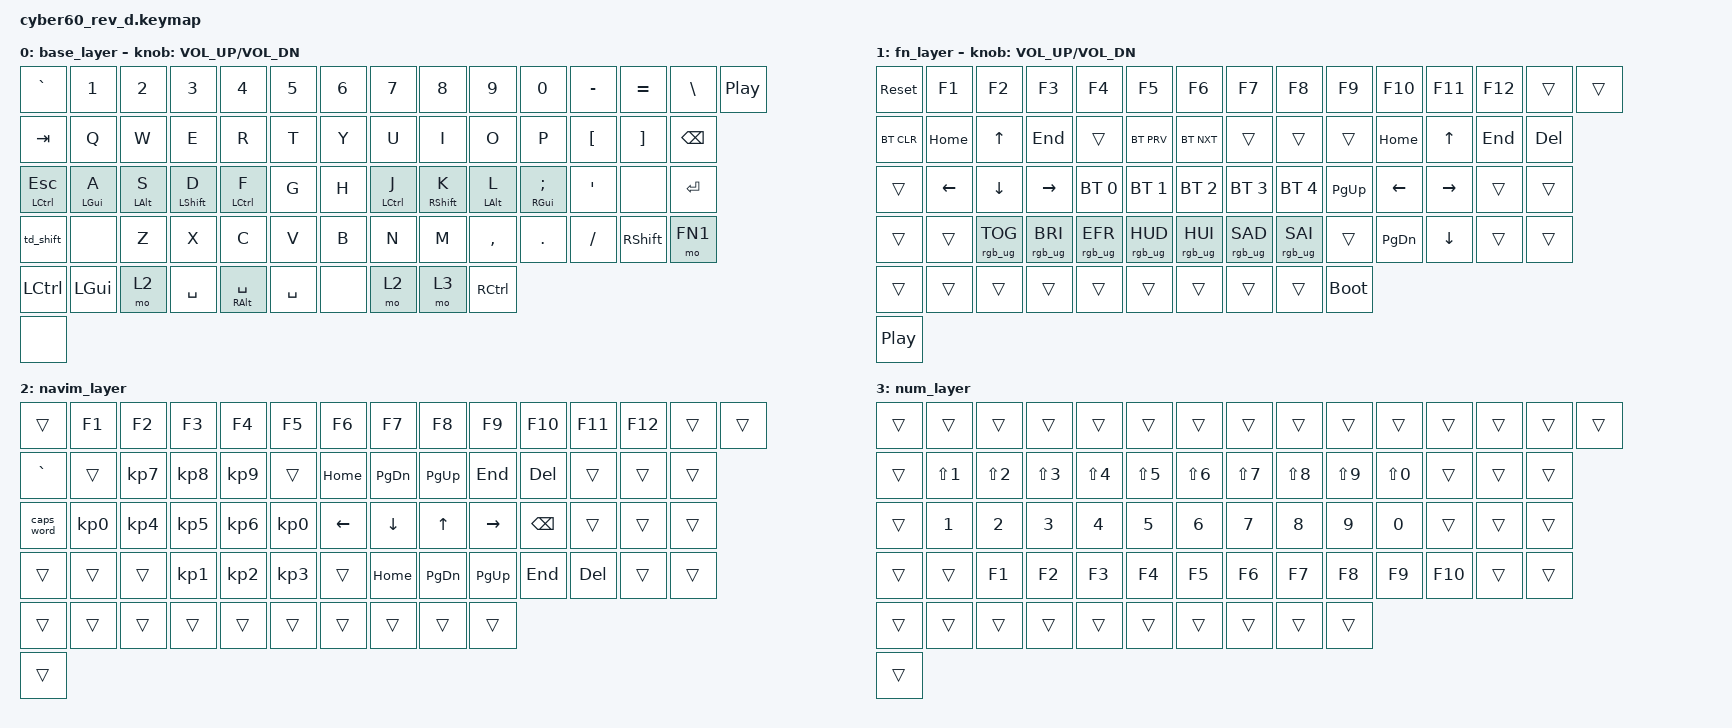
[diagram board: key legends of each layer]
#include <behaviors.dtsi>
#include <dt-bindings/zmk/bt.h>
#include <dt-bindings/zmk/keys.h>
#include <dt-bindings/zmk/rgb.h>

#define FN1 1

&lt {
    tapping-term-ms = <200>;
    quick-tap-ms = <200>;
    require-prior-idle-ms = <125>;
    flavor = "tap-preferred";
};

/ {
    behaviors {
        hm: homerow_mods {
            compatible = "zmk,behavior-hold-tap";
            #binding-cells = <2>;
            tapping-term-ms = <200>;
            quick-tap-ms = <200>;
            require-prior-idle-ms = <125>;
            flavor = "tap-preferred";
            bindings = <&kp>, <&kp>;
        };

        td_shift: tap_dance_0 {
            compatible = "zmk,behavior-tap-dance";
            #binding-cells = <0>;
            tapping-term-ms = <200>;
            bindings = <&kp LSHIFT>, <&caps_word>;
        };
    };

    keymap {
        compatible = "zmk,keymap";

        base_layer {
            // Base layer
            // ------------------------------------------------------------------------------------------
            // | ESC |  1  |  2  |  3  |  4  |  5  |  6  |  7  |  8  |  9  |  0  |  -  |  =  |   BKSP   |
            // |  TAB |  Q  |  W  |  E  |  R  |  T  |  Y  |  U  |  I  |  O  |  P  |  [  |  ]  |   "|"   |
            // | CAPS  |  A  |  S  |  D  |  F  |  G  |  H  |  J  |  K  |  L  |  ;  |  '  |NUHS| ENTER   |
            // | SHIFT |NUBS| Z |  X  |  C  |  V  |  B  |  N  |  M  |  ,  |  .  |  /  |    Shift   | FN |
            // |  LCTL  |  LWIN  |  LALT  | SPACE  | SPACE |    SPACE   |  RALT | FN  |   RWIN  | RCTRL |
            // | Rotary | (<-- Rotary switch) ----------------------------------------------------------- 

            bindings = <
&kp GRAVE         &kp N1          &kp N2          &kp N3            &kp N4          &kp N5     &kp N6  &kp N7       &kp N8             &kp N9          &kp N0              &kp MINUS  &kp EQUAL  &kp BACKSLASH  &kp C_PLAY_PAUSE
&kp TAB           &kp Q           &kp W           &kp E             &kp R           &kp T      &kp Y   &kp U        &kp I              &kp O           &kp P               &kp LBKT   &kp RBKT   &kp BACKSPACE
&mt LCTRL ESCAPE  &hm LEFT_GUI A  &hm LEFT_ALT S  &hm LEFT_SHIFT D  &hm LCTRL F     &kp G      &kp H   &hm LCTRL J  &hm RIGHT_SHIFT K  &hm LEFT_ALT L  &hm RIGHT_GUI SEMI  &kp SQT    &none      &kp RET
&td_shift         &none           &kp Z           &kp X             &kp C           &kp V      &kp B   &kp N        &kp M              &kp COMMA       &kp DOT             &kp FSLH   &kp RSHFT  &mo FN1
&kp LCTRL         &kp LGUI        &mo 2           &kp SPACE         &hm RALT SPACE  &kp SPACE  &none   &mo 2        &mo 3              &kp RCTRL
&none
            >;

            sensor-bindings = <&inc_dec_kp C_VOL_UP C_VOL_DN>;
        };

        fn_layer {
            // Function layer
            // ------------------------------------------------------------------------------------------
            // | RESET | F1 |  F2 |  F3 |  F4 |  F5 |  F6 |  F7 |  F8 |  F9 | F10 | F11 | F12 |TRNS | DEL |
            // |BT_CLR |TRNS | UP  | BT0 | BT1 | BT2 | BT3 | BT4 | TRNS | TRNS | TRNS | TRNS | TRNS | TRNS|
            // | BOOTL  |LEFT |DOWN |RIGHT|TRNS |TRNS |TRNS | TRNS| TRNS |TRNS| TRNS |TRNS | TRNS | TRNS  |
            // | TRNS |TRNS|TRNS|TRNS|TRNS | TRNS| TRNS | TRNS |  TRNS| TRNS | TRNS| TRNS |   TRNS   |TRNS|
            // |  TRNS | TRNS | TRNS |      TRNS      | TRNS |     TRNS     |  TRNS |  TRNS | TRNS | TRNS |
            // | Rotary | (<-- Rotary switch) ----------------------------------------------------------- 

            bindings = <
&sys_reset  &kp F1    &kp F2           &kp F3           &kp F4           &kp F5           &kp F6           &kp F7           &kp F8           &kp F9       &kp F10    &kp F11    &kp F12  &trans      &trans
&bt BT_CLR  &kp HOME  &kp UP           &kp END          &trans           &bt BT_PRV       &bt BT_NXT       &trans           &trans           &trans       &kp HOME   &kp UP     &kp END  &kp DELETE
&trans      &kp LEFT  &kp DOWN         &kp RIGHT        &bt BT_SEL 0     &bt BT_SEL 1     &bt BT_SEL 2     &bt BT_SEL 3     &bt BT_SEL 4     &kp PG_UP    &kp LEFT   &kp RIGHT  &trans   &trans
&trans      &trans    &rgb_ug RGB_TOG  &rgb_ug RGB_BRI  &rgb_ug RGB_EFR  &rgb_ug RGB_HUD  &rgb_ug RGB_HUI  &rgb_ug RGB_SAD  &rgb_ug RGB_SAI  &trans       &kp PG_DN  &kp DOWN   &trans   &trans
&trans      &trans    &trans           &trans           &trans           &trans           &trans           &trans           &trans           &bootloader
&kp C_PP
            >;

            sensor-bindings = <&inc_dec_kp C_VOL_UP C_VOL_DN>;
        };

        navim_layer {
            bindings = <
&trans      &kp F1     &kp F2           &kp F3           &kp F4     &kp F5           &kp F6    &kp F7         &kp F8         &kp F9     &kp F10        &kp F11     &kp F12  &trans  &trans
&kp GRAVE   &trans     &kp KP_NUMBER_7  &kp KP_NUMBER_8  &kp KP_N9  &trans           &kp HOME  &kp PAGE_DOWN  &kp PAGE_UP    &kp END    &kp DELETE     &trans      &trans   &trans
&caps_word  &kp KP_N0  &kp KP_N4        &kp KP_NUMBER_5  &kp KP_N6  &kp KP_N0        &kp LEFT  &kp DOWN       &kp UP         &kp RIGHT  &kp BACKSPACE  &trans      &trans   &trans
&trans      &trans     &trans           &kp KP_NUMBER_1  &kp KP_N2  &kp KP_NUMBER_3  &trans    &kp HOME       &kp PAGE_DOWN  &kp PG_UP  &kp END        &kp DELETE  &trans   &trans
&trans      &trans     &trans           &trans           &trans     &trans           &trans    &trans         &trans         &trans
&trans
            >;
        };

        num_layer {
            bindings = <
&trans  &trans      &trans      &trans      &trans      &trans      &trans      &trans      &trans      &trans      &trans      &trans   &trans  &trans  &trans
&trans  &kp LS(N1)  &kp LS(N2)  &kp LS(N3)  &kp LS(N4)  &kp LS(N5)  &kp LS(N6)  &kp LS(N7)  &kp LS(N8)  &kp LS(N9)  &kp LS(N0)  &trans   &trans  &trans
&trans  &kp N1      &kp N2      &kp N3      &kp N4      &kp N5      &kp N6      &kp N7      &kp N8      &kp N9      &kp N0      &trans   &trans  &trans
&trans  &trans      &kp F1      &kp F2      &kp F3      &kp F4      &kp F5      &kp F6      &kp F7      &kp F8      &kp F9      &kp F10  &trans  &trans
&trans  &trans      &trans      &trans      &trans      &trans      &trans      &trans      &trans      &trans
&trans
            >;
        };
    };
};
